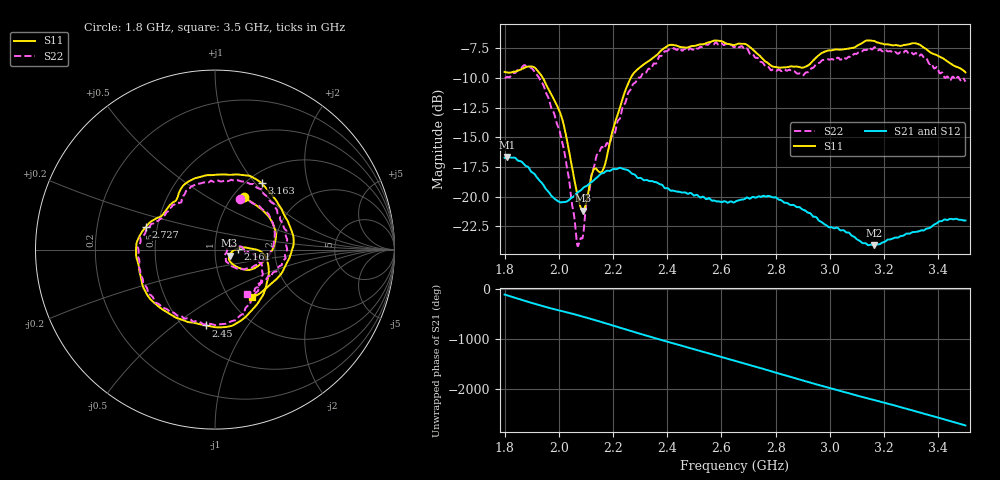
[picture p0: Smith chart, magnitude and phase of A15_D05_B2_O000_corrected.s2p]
! Created with skrf 1.9.0 (http://scikit-rf.org).
# Hz S RI R 50.0
!freq ReS11 ImS11 ReS21 ImS21 ReS12 ImS12 ReS22 ImS22
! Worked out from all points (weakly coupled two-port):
!   1601 points, 1.8 GHz to 3.5 GHz, reference 50 ohm
!   highest |S21| = -16.66 dB at 1.811 GHz (marker M1); lowest = -24.1 dB at 3.163 GHz (marker M2)
!   lowest |S11| = -21.2 dB at 2.089 GHz (marker M3), VSWR 1.19, Z = 58.6 - j3.92 ohm
!   |S11| at or under -10 dB: 1.941 GHz to 2.265 GHz (324.1 MHz wide, 15.4 % of centre)
!   |S22| runs from -24.2 to -7.0 dB; largest |S21 - S12| = 0.0026
!   S11 on the Smith chart (normalised r, x): 1.8 GHz: 1.12, +0.74; 2.161 GHz: 1.29, +0.01; 2.45 GHz: 0.64, -0.66; 2.727 GHz: 0.43, +0.13; 3.163 GHz: 1.16, +1.08; 3.5 GHz: 1.27, -0.75
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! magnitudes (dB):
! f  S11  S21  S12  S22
! 1.8 GHz  -9.5  -16.7  -16.7  -10.0
! 1.811 GHz  -9.6  -16.7  -16.7  -9.9
! 1.88 GHz  -9.1  -17.4  -17.4  -9.0
! 1.941 GHz  -10.0  -19.0  -19.0  -10.5
! 2.011 GHz  -13.4  -20.5  -20.5  -15.3
! 2.067 GHz  -19.7  -19.7  -19.7  -23.9
! 2.084 GHz  -21.1  -19.4  -19.4  -23.5
! 2.089 GHz  -21.2  -19.3  -19.3  -23.3
! 2.126 GHz  -17.8  -18.7  -18.7  -17.7
! 2.161 GHz  -17.8  -18.0  -18.0  -15.8
! 2.203 GHz  -14.1  -17.7  -17.7  -14.7
! 2.261 GHz  -10.2  -17.9  -17.9  -11.1
! 2.367 GHz  -7.9  -18.9  -18.8  -8.3
! 2.45 GHz  -7.4  -19.6  -19.6  -7.6
! 2.65 GHz  -7.2  -20.4  -20.4  -7.4
! 2.727 GHz  -7.9  -20.1  -20.1  -8.3
! 2.8 GHz  -9.1  -20.1  -20.1  -9.4
! 2.934 GHz  -8.7  -21.6  -21.5  -9.2
! 3.163 GHz  -6.9  -24.1  -24.1  -7.4
! 3.217 GHz  -7.2  -23.6  -23.6  -7.8
! 3.324 GHz  -7.1  -22.9  -22.9  -8.1
! 3.5 GHz  -9.5  -22.0  -22.0  -10.3
